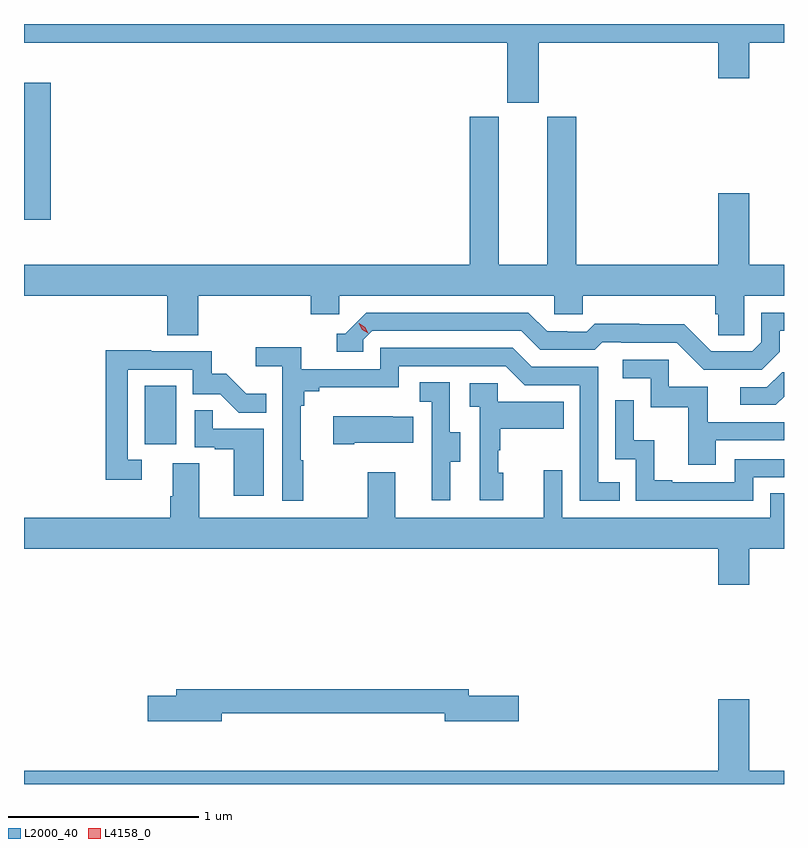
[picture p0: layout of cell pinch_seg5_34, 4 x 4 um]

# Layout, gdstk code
import gdstk
lib = gdstk.Library(unit=1e-6, precision=1e-09)
def R(c, l, rs):  # rectangles x0, y0, x1, y1
    for r in rs: c.add(gdstk.rectangle(r[:2], r[2:], *l))
def P(c, l, *ps):  # polygons
    for p in ps: c.add(gdstk.Polygon(p, *l))
L2000_40 = (2000, 40)
L4158_0 = (4158, 0)

pinch_seg5_34 = lib.new_cell('pinch_seg5_34')
R(pinch_seg5_34, L2000_40, [(1097.054,894.606,1097.218,894.913), (1096.418,895.788,1096.558,896.509)])
P(pinch_seg5_34, L2000_40, [(1099.126,896.72),(1100.072,896.72),(1100.072,896.532),(1100.236,896.532),(1100.236,896.72),(1100.418,896.72),(1100.418,896.818),(1096.418,896.818),(1096.418,896.72),(1098.962,896.72),(1098.962,896.403),(1099.126,896.403)],
  [(1097.336,895.388),(1097.927,895.388),(1097.927,895.29),(1098.078,895.29),(1098.078,895.388),(1099.209,895.388),(1099.209,895.29),(1099.359,895.29),(1099.359,895.388),(1100.057,895.388),(1100.057,895.29),(1100.071,895.29),(1100.071,895.18),(1100.208,895.18),(1100.208,895.388),(1100.418,895.388),(1100.418,895.552),(1100.236,895.552),(1100.236,895.927),(1100.072,895.927),(1100.072,895.552),(1099.325,895.552),(1099.325,896.331),(1099.172,896.331),(1099.172,895.552),(1098.916,895.552),(1098.916,896.331),(1098.764,896.331),(1098.764,895.552),(1096.418,895.552),(1096.418,895.388),(1097.171,895.388),(1097.171,895.18),(1097.336,895.18)],
  [(1100.395,895.093),(1100.395,895.203),(1100.418,895.203),(1100.418,895.299),(1100.298,895.299),(1100.298,895.143),(1100.25,895.095),(1100.034,895.095),(1099.892,895.237),(1099.656,895.237),(1099.656,895.24),(1099.423,895.24),(1099.381,895.197),(1099.278,895.197),(1099.278,895.2),(1099.171,895.2),(1099.072,895.299),(1098.219,895.299),(1098.108,895.188),(1098.065,895.188),(1098.065,895.092),(1098.204,895.092),(1098.204,895.155),(1098.252,895.203),(1099.035,895.203),(1099.134,895.104),(1099.423,895.104),(1099.462,895.143),(1099.561,895.143),(1099.561,895.14),(1099.854,895.14),(1099.995,894.999),(1100.301,894.999)],
  [(1097.887,894.521),(1097.875,894.521),(1097.875,894.809),(1097.894,894.809),(1097.894,894.886),(1097.971,894.886),(1097.971,894.905),(1098.39,894.905),(1098.39,895.017),(1098.954,895.017),(1099.053,894.918),(1099.344,894.918),(1099.344,894.309),(1099.553,894.309),(1099.553,894.405),(1099.44,894.405),(1099.44,895.014),(1099.09,895.014),(1098.991,895.113),(1098.294,895.113),(1098.294,895.002),(1097.876,895.002),(1097.876,895.118),(1097.637,895.118),(1097.637,895.016),(1097.778,895.016),(1097.778,894.309),(1097.887,894.309)],
  [(1097.038,894.525),(1096.965,894.525),(1096.965,894.999),(1097.307,894.999),(1097.307,894.87),(1097.451,894.87),(1097.549,894.772),(1097.693,894.772),(1097.693,894.871),(1097.589,894.871),(1097.482,894.978),(1097.406,894.978),(1097.406,895.095),(1097.087,895.095),(1097.087,895.1),(1096.849,895.1),(1096.849,894.42),(1097.038,894.42)],
  [(1100.059,894.627),(1100.418,894.627),(1100.418,894.723),(1100.017,894.723),(1100.017,894.909),(1099.812,894.909),(1099.812,895.05),(1099.569,895.05),(1099.569,894.954),(1099.716,894.954),(1099.716,894.801),(1099.915,894.801),(1099.915,894.498),(1100.059,894.498)],
  [(1100.418,894.857),(1100.418,894.986),(1100.408,894.986),(1100.328,894.906),(1100.187,894.906),(1100.187,894.813),(1100.374,894.813)],
  [(1098.661,894.514),(1098.715,894.514),(1098.715,894.669),(1098.66,894.669),(1098.66,894.932),(1098.501,894.932),(1098.501,894.829),(1098.564,894.829),(1098.564,894.525),(1098.563,894.525),(1098.563,894.312),(1098.661,894.312)],
  [(1098.94,894.456),(1098.915,894.456),(1098.915,894.575),(1098.925,894.575),(1098.925,894.689),(1099.259,894.689),(1099.259,894.829),(1098.912,894.829),(1098.912,894.927),(1098.765,894.927),(1098.765,894.803),(1098.816,894.803),(1098.816,894.312),(1098.94,894.312)],
  [(1100.256,894.432),(1100.418,894.432),(1100.418,894.528),(1100.16,894.528),(1100.16,894.405),(1099.831,894.405),(1099.831,894.418),(1099.736,894.418),(1099.736,894.626),(1099.626,894.626),(1099.626,894.838),(1099.53,894.838),(1099.53,894.528),(1099.638,894.528),(1099.638,894.309),(1100.256,894.309)],
  [(1097.68,894.687),(1097.411,894.687),(1097.411,894.785),(1097.316,894.785),(1097.316,894.591),(1097.423,894.591),(1097.423,894.579),(1097.522,894.579),(1097.522,894.336),(1097.68,894.336)],
  [(1098.157,894.614),(1098.467,894.614),(1098.467,894.751),(1098.359,894.751),(1098.359,894.754),(1098.045,894.754),(1098.045,894.607),(1098.157,894.607)],
  [(1100.236,894.056),(1100.418,894.056),(1100.418,894.347),(1100.346,894.347),(1100.346,894.22),(1099.251,894.22),(1099.251,894.469),(1099.154,894.469),(1099.154,894.22),(1098.373,894.22),(1098.373,894.46),(1098.226,894.46),(1098.226,894.22),(1097.341,894.22),(1097.341,894.506),(1097.201,894.506),(1097.201,894.332),(1097.189,894.332),(1097.189,894.22),(1096.418,894.22),(1096.418,894.056),(1100.072,894.056),(1100.072,893.868),(1100.236,893.868)],
  [(1097.458,893.19),(1098.632,893.19),(1098.632,893.147),(1099.021,893.147),(1099.021,893.282),(1098.76,893.282),(1098.76,893.318),(1097.219,893.318),(1097.219,893.282),(1097.07,893.282),(1097.07,893.147),(1097.458,893.147)],
  [(1100.418,892.888),(1100.236,892.888),(1100.236,893.263),(1100.072,893.263),(1100.072,892.888),(1096.418,892.888),(1096.418,892.818),(1100.418,892.818)])
P(pinch_seg5_34, L4158_0, [(1098.229,895.19),(1098.198,895.209),(1098.181,895.242),(1098.181,895.242),(1098.182,895.242),(1098.213,895.223),(1098.23,895.19),(1098.23,895.19)])

lib.write_gds('pinch_seg5_34.gds')
